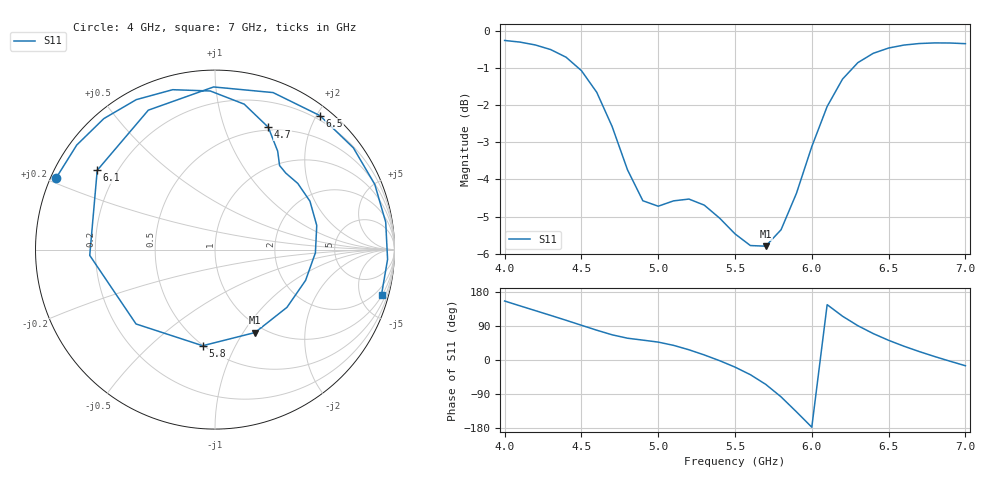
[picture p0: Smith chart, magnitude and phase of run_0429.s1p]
! Touchstone file exported from HFSS 2024.2.0
!  File:  C:/Users/wsak9/Desktop/Sim Fast/Widenad Patch/WP_AI_V1_sweep.aedt
!  Generated:  09:36:02 AM Oct 14, 2026
!  Design:  A1_model
!  Project:  WP_AI_V1_sweep
!  Setup:  Setup1
!  Solution:  Sweep
! Variables:
!  Air_gap = 3.77mm
!  Curve_Amp1 = 2.2
!  Curve_len1 = 1
!  Curve_pos = 11.225mm
!  Extra = 4.29mm
!  H_sub = 0.79mm
!  L_Patch = 18.45mm
!  L_Patch1 = 16.73mm
!  Sx = 3.76mm
!  Sy = 4.3mm
!  WS = 0.54mm
!  W_Patch = 20.67mm
!  W_Patch1 = 12.44mm
!Data is not renormalized
# GHz S MA
! Terminal data exported
! Port[1] = 1
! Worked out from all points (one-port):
!   31 points, 4 GHz to 7 GHz, reference per port
!   lowest |S11| = -5.8 dB at 5.7 GHz (marker M1), VSWR 3.11
!   |S11| at or under -10 dB: nowhere
!   S11 on the Smith chart (normalised r, x): 4 GHz: 0.02, +0.22; 4.7 GHz: 0.47, +1.42; 5.8 GHz: 0.50, -0.75; 6.1 GHz: 0.13, +0.30; 6.5 GHz: 0.14, +2.05; 7 GHz: 1.12, -7.36
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4  0.9707 155.7
4.2  0.9572 130.3
4.3  0.9436 117.7
4.4  0.9216 104.8
4.5  0.8841 91.7
4.6  0.8265 78.6
4.7  0.7435 66.5
4.8  0.6502 57.5
5  0.5807 47.2
5.2  0.5937 27.0
5.3  0.5827 13.4
5.4  0.5597 -1.8
5.5  0.5331 -18.8
5.6  0.5141 -38.7
5.7  0.5131 -64.2
5.8  0.54 -97.3
5.9  0.6043 -136.7
6  0.6986 -177.4
6.1  0.7911 146.0
6.2  0.8611 115.6
6.3  0.9062 90.5
6.4  0.9328 69.7
6.5  0.9482 51.9
6.6  0.9569 36.3
6.7  0.9615 22.2
6.8  0.9633 9.1
6.9  0.9631 -3.2
7  0.9611 -15.1
